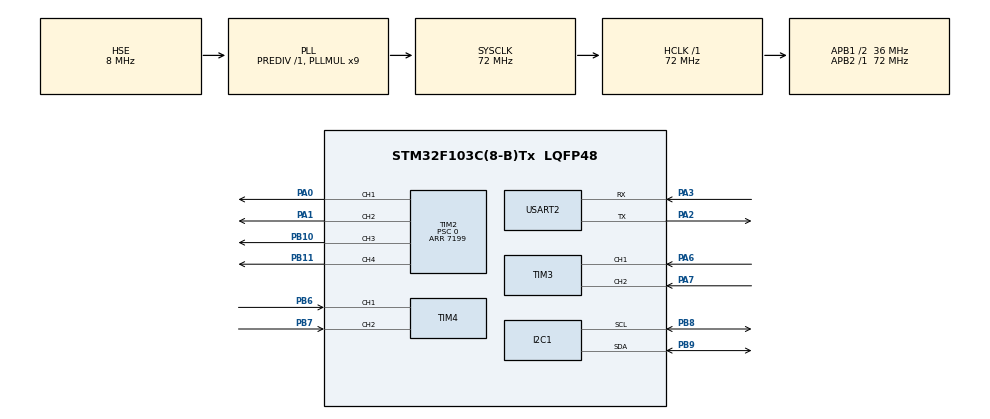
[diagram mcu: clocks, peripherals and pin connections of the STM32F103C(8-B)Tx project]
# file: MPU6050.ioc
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I2C1.I2C_Mode=I2C_Fast
Mcu.Family=STM32F1
Mcu.Name=STM32F103C(8-B)Tx
Mcu.Package=LQFP48
NVIC.PriorityGroup=NVIC_PRIORITYGROUP_4
NVIC.TIM1_UP_IRQn=true\:1\:0\:true\:false\:true\:true\:true\:true
NVIC.TIM4_IRQn=true\:0\:0\:false\:false\:true\:true\:true\:true
NVIC.USART2_IRQn=true\:0\:0\:false\:false\:true\:true\:true\:true
PA0-WKUP.Signal=S_TIM2_CH1_ETR
PA1.Signal=S_TIM2_CH2
PA13.Mode=Serial_Wire
PA13.Signal=SYS_JTMS-SWDIO
PA14.Mode=Serial_Wire
PA14.Signal=SYS_JTCK-SWCLK
PA2.Mode=Asynchronous
PA2.Signal=USART2_TX
PA3.Mode=Asynchronous
PA3.Signal=USART2_RX
PA6.Signal=S_TIM3_CH1
PA7.Signal=S_TIM3_CH2
PB10.Signal=S_TIM2_CH3
PB11.Signal=S_TIM2_CH4
PB6.Signal=S_TIM4_CH1
PB7.Signal=S_TIM4_CH2
PB8.Mode=I2C
PB8.Signal=I2C1_SCL
PB9.Mode=I2C
PB9.Signal=I2C1_SDA
PD0-OSC_IN.Mode=HSE-External-Oscillator
PD0-OSC_IN.Signal=RCC_OSC_IN
PD1-OSC_OUT.Mode=HSE-External-Oscillator
PD1-OSC_OUT.Signal=RCC_OSC_OUT
ProjectManager.HeapSize=0x200
ProjectManager.StackSize=0x400
ProjectManager.TargetToolchain=MDK-ARM V5.32
RCC.AHBFreq_Value=72000000
RCC.APB1CLKDivider=RCC_HCLK_DIV2
RCC.APB1Freq_Value=36000000
RCC.APB1TimFreq_Value=72000000
RCC.APB2Freq_Value=72000000
RCC.APB2TimFreq_Value=72000000
RCC.HCLKFreq_Value=72000000
RCC.PLLMUL=RCC_PLL_MUL9
RCC.PLLSourceVirtual=RCC_PLLSOURCE_HSE
RCC.SYSCLKFreq_VALUE=72000000
RCC.SYSCLKSource=RCC_SYSCLKSOURCE_PLLCLK
RCC.USBFreq_Value=72000000
SH.S_TIM2_CH1_ETR.0=TIM2_CH1,PWM Generation1 CH1
SH.S_TIM2_CH2.0=TIM2_CH2,PWM Generation2 CH2
SH.S_TIM2_CH3.0=TIM2_CH3,PWM Generation3 CH3
SH.S_TIM2_CH4.0=TIM2_CH4,PWM Generation4 CH4
SH.S_TIM3_CH1.0=TIM3_CH1,Encoder_Interface
SH.S_TIM3_CH2.0=TIM3_CH2,Encoder_Interface
SH.S_TIM4_CH1.0=TIM4_CH1,Encoder_Interface
SH.S_TIM4_CH2.0=TIM4_CH2,Encoder_Interface
TIM1.AutoReloadPreload=TIM_AUTORELOAD_PRELOAD_ENABLE
TIM1.Period=99
TIM1.Prescaler=7199
TIM2.AutoReloadPreload=TIM_AUTORELOAD_PRELOAD_DISABLE
TIM2.Channel-PWM\ Generation1\ CH1=TIM_CHANNEL_1
TIM2.Channel-PWM\ Generation2\ CH2=TIM_CHANNEL_2
TIM2.Channel-PWM\ Generation3\ CH3=TIM_CHANNEL_3
TIM2.Channel-PWM\ Generation4\ CH4=TIM_CHANNEL_4
TIM2.Period=7199
TIM2.Prescaler=0
TIM3.EncoderMode=TIM_ENCODERMODE_TI12
TIM3.IC1Filter=12
TIM3.IC2Filter=12
TIM4.EncoderMode=TIM_ENCODERMODE_TI12
TIM4.IC1Filter=12
TIM4.IC2Filter=12
USART2.VirtualMode=VM_ASYNC
VP_TIM1_VS_ClockSourceINT.Mode=Internal
VP_TIM2_VS_ClockSourceINT.Mode=Internal
board=custom

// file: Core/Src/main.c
/* USER CODE BEGIN Header */
/**
 ******************************************************************************
 * @file           : main.c
 * @brief          : Main program body
 ******************************************************************************
 * @attention
 *
 * Copyright (c) 2024 STMicroelectronics.
 * All rights reserved.
 *
 * This software is licensed under terms that can be found in the LICENSE file
 * in the root directory of this software component.
 * If no LICENSE file comes with this software, it is provided AS-IS.
 *
 ******************************************************************************
 */
/* USER CODE END Header */
#include "main.h"
#include "i2c.h"
#include "tim.h"
#include "usart.h"
#include "gpio.h"

/* USER CODE BEGIN Includes */
#include "mpu6050.h"
#include "motor.h"
#include "ANO_TC.h"
#include "pid.h"
/* USER CODE END Includes */

/* USER CODE BEGIN PV */
uint8_t buf;
int Nowspeed;
int PWM_Upright;
int PWM_Speed;
int PWM_Steering;
float P_I_D;
/* USER CODE END PV */

void SystemClock_Config(void);

/* USER CODE BEGIN 0 */
float getTIMx_DetaCnt(TIM_TypeDef *TIMx) // 读取单位时间内脉冲变化�??
{
  float cnt;
  cnt = TIMx->CNT - 0x7fff;
  TIMx->CNT = 0x7fff;
  return cnt;
}
/* USER CODE END 0 */

int main(void)
{

  /* MCU Configuration--------------------------------------------------------*/

  /* Reset of all peripherals, Initializes the Flash interface and the Systick. */
  HAL_Init();

  /* Configure the system clock */
  SystemClock_Config();

  /* Initialize all configured peripherals */
  MX_GPIO_Init();
  MX_I2C1_Init();
  MX_TIM2_Init();
  MX_TIM3_Init();
  MX_TIM1_Init();
  MX_TIM4_Init();
  MX_USART2_UART_Init();
  /* USER CODE BEGIN 2 */
  HAL_TIM_Base_Start_IT(&htim1);
  HAL_TIM_PWM_Start(&htim2, TIM_CHANNEL_1);
  HAL_TIM_PWM_Start(&htim2, TIM_CHANNEL_2);
  HAL_TIM_PWM_Start(&htim2, TIM_CHANNEL_3);
  HAL_TIM_PWM_Start(&htim2, TIM_CHANNEL_4);
  HAL_TIM_Encoder_Start(&htim3, TIM_CHANNEL_ALL);
  // HAL_TIM_Encoder_Start(&htim4, TIM_CHANNEL_ALL);
  MPU_Init();

  HAL_UART_Receive_IT(&huart2, &buf, 1);
  /* USER CODE END 2 */

  /* Infinite loop */
  while (1)
  {

  }
}

void SystemClock_Config(void)
{
  RCC_OscInitTypeDef RCC_OscInitStruct = {0};
  RCC_ClkInitTypeDef RCC_ClkInitStruct = {0};

  /** Initializes the RCC Oscillators according to the specified parameters
   * in the RCC_OscInitTypeDef structure.
   */
  RCC_OscInitStruct.OscillatorType = RCC_OSCILLATORTYPE_HSE;
  RCC_OscInitStruct.HSEState = RCC_HSE_ON;
  RCC_OscInitStruct.HSEPredivValue = RCC_HSE_PREDIV_DIV1;
  RCC_OscInitStruct.HSIState = RCC_HSI_ON;
  RCC_OscInitStruct.PLL.PLLState = RCC_PLL_ON;
  RCC_OscInitStruct.PLL.PLLSource = RCC_PLLSOURCE_HSE;
  RCC_OscInitStruct.PLL.PLLMUL = RCC_PLL_MUL9;
  if (HAL_RCC_OscConfig(&RCC_OscInitStruct) != HAL_OK)
  {
    Error_Handler();
  }

  /** Initializes the CPU, AHB and APB buses clocks
   */
  RCC_ClkInitStruct.ClockType = RCC_CLOCKTYPE_HCLK | RCC_CLOCKTYPE_SYSCLK | RCC_CLOCKTYPE_PCLK1 | RCC_CLOCKTYPE_PCLK2;
  RCC_ClkInitStruct.SYSCLKSource = RCC_SYSCLKSOURCE_PLLCLK;
  RCC_ClkInitStruct.AHBCLKDivider = RCC_SYSCLK_DIV1;
  RCC_ClkInitStruct.APB1CLKDivider = RCC_HCLK_DIV2;
  RCC_ClkInitStruct.APB2CLKDivider = RCC_HCLK_DIV1;

  if (HAL_RCC_ClockConfig(&RCC_ClkInitStruct, FLASH_LATENCY_2) != HAL_OK)
  {
    Error_Handler();
  }
}

/* USER CODE BEGIN 4 */

void HAL_UART_RxCpltCallback(UART_HandleTypeDef *huart)
{
  if (huart == (&huart2)) // 判断中断是否来自于串�????????1
  {
    P_I_D = (float)(buf - '0') * 10 + 450;
    Set_PID(P_I_D);
    HAL_UART_Receive_IT(&huart2, &buf, 1); // �????????始接收下�????????轮数�????????
  }
}

void HAL_TIM_PeriodElapsedCallback(TIM_HandleTypeDef *htim)
{
  if (htim == (&htim1))
  {
    Get_Angle();
    Send_Angle();
    int speed = (short)TIM3->CNT;
    Nowspeed = -speed;
    TIM3->CNT = 0;
    PWM_Upright = PID_Upright(Roll, G_Roll); // 直立环
    PWM_Speed = PID_Speed(0, (int16_t)Nowspeed);
    PWM_Steering = PID_Steering(0, Yaw, G_Yaw);
    Motor_Set(0, PWM_Upright + PWM_Speed + PWM_Steering);
    Motor_Set(1, PWM_Upright + PWM_Speed - PWM_Steering);
  }
}

/* USER CODE END 4 */

void Error_Handler(void)
{
  __disable_irq();
  while (1)
  {
  }
}
